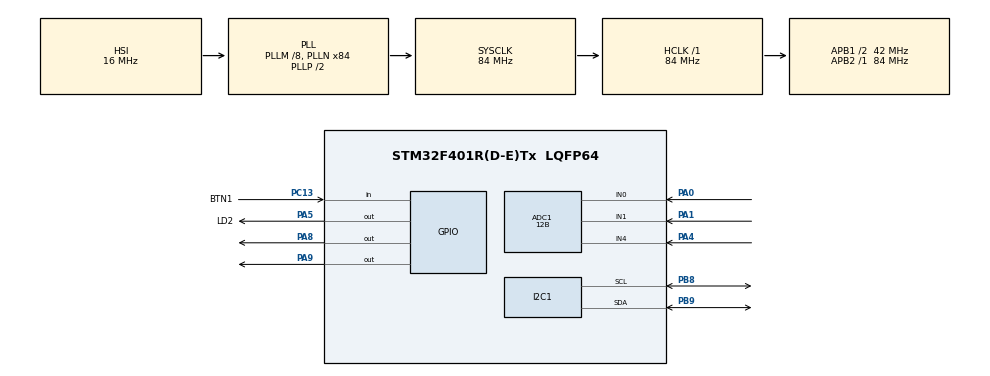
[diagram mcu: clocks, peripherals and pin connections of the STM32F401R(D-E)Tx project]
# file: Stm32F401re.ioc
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ADC1.Channel-1\#ChannelRegularConversion=ADC_CHANNEL_0
ADC1.Channel-2\#ChannelRegularConversion=ADC_CHANNEL_1
ADC1.Channel-3\#ChannelRegularConversion=ADC_CHANNEL_4
ADC1.ContinuousConvMode=DISABLE
ADC1.NbrOfConversion=3
ADC1.NbrOfConversionFlag=1
ADC1.Rank-1\#ChannelRegularConversion=1
ADC1.Rank-2\#ChannelRegularConversion=2
ADC1.Rank-3\#ChannelRegularConversion=3
ADC1.Resolution=ADC_RESOLUTION_12B
ADC1.SamplingTime-1\#ChannelRegularConversion=ADC_SAMPLETIME_28CYCLES
ADC1.SamplingTime-2\#ChannelRegularConversion=ADC_SAMPLETIME_56CYCLES
ADC1.SamplingTime-3\#ChannelRegularConversion=ADC_SAMPLETIME_84CYCLES
ADC1.ScanConvMode=ENABLE
ADC1.master=1
FREERTOS.Tasks01=Task01,24,256,StartTask01,Default,NULL,Dynamic,NULL,NULL;Task02,25,256,StartTask02,Default,NULL,Dynamic,NULL,NULL;Task03,26,256,StartTask03,Default,NULL,Dynamic,NULL,NULL;Task04,41,750,StartTask04,Default,NULL,Dynamic,NULL,NULL
I2C1.I2C_Mode=I2C_Standard
Mcu.Family=STM32F4
Mcu.Name=STM32F401R(D-E)Tx
Mcu.Package=LQFP64
NVIC.PriorityGroup=NVIC_PRIORITYGROUP_4
NVIC.TIM4_IRQn=true\:0\:0\:false\:false\:true\:false\:false\:true
NVIC.TimeBase=TIM4_IRQn
NVIC.TimeBaseIP=TIM4
PA0-WKUP.Signal=ADCx_IN0
PA1.Signal=ADCx_IN1
PA13.Mode=Serial_Wire
PA13.Signal=SYS_JTMS-SWDIO
PA14.Mode=Serial_Wire
PA14.Signal=SYS_JTCK-SWCLK
PA4.Signal=ADCx_IN4
PA5.GPIO_Label=LD2
PA5.Signal=GPIO_Output
PA8.Signal=GPIO_Output
PA9.Signal=GPIO_Output
PB8.Mode=I2C
PB8.Signal=I2C1_SCL
PB9.Mode=I2C
PB9.Signal=I2C1_SDA
PC13-ANTI_TAMP.GPIO_Label=BTN1
PC13-ANTI_TAMP.Signal=GPIO_Input
PH0\ -\ OSC_IN.Mode=HSE-External-Oscillator
PH0\ -\ OSC_IN.Signal=RCC_OSC_IN
PH1\ -\ OSC_OUT.Mode=HSE-External-Oscillator
PH1\ -\ OSC_OUT.Signal=RCC_OSC_OUT
ProjectManager.HeapSize=0x200
ProjectManager.StackSize=0x400
ProjectManager.TargetToolchain=MDK-ARM V5.27
RCC.48MHZClocksFreq_Value=42000000
RCC.AHBFreq_Value=84000000
RCC.APB1CLKDivider=RCC_HCLK_DIV2
RCC.APB1Freq_Value=42000000
RCC.APB1TimFreq_Value=84000000
RCC.APB2Freq_Value=84000000
RCC.APB2TimFreq_Value=84000000
RCC.CortexFreq_Value=84000000
RCC.HCLKFreq_Value=84000000
RCC.HSE_VALUE=25000000
RCC.HSI_VALUE=16000000
RCC.LSE_VALUE=32768
RCC.PLLM=8
RCC.PLLN=84
RCC.SYSCLKFreq_VALUE=84000000
RCC.SYSCLKSource=RCC_SYSCLKSOURCE_PLLCLK
RCC.VCOOutputFreq_Value=168000000
SH.ADCx_IN0.0=ADC1_IN0,IN0
SH.ADCx_IN1.0=ADC1_IN1,IN1
SH.ADCx_IN4.0=ADC1_IN4,IN4
VP_FREERTOS_VS_CMSIS_V2.Mode=CMSIS_V2
VP_SYS_VS_tim4.Mode=TIM4
board=custom

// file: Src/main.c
/* USER CODE BEGIN Header */
/**
  ******************************************************************************
  * @file           : main.c
  * @brief          : Main program body
  ******************************************************************************
  * @attention
  *
  * <h2><center>&copy; Copyright (c) 2021 STMicroelectronics.
  * All rights reserved.</center></h2>
  *
  * This software component is licensed by ST under BSD 3-Clause license,
  * the "License"; You may not use this file except in compliance with the
  * License. You may obtain a copy of the License at:
  *                        opensource.org/licenses/BSD-3-Clause
  *
  ******************************************************************************
  */
/* USER CODE END Header */

#include "main.h"
#include "cmsis_os.h"

/* USER CODE BEGIN Includes */
#include "GlobalVariable.h"

/* USER CODE END Includes */

/* USER CODE BEGIN PD */

/*
A8 - Step
A9 - Dir
A0 - Lm35
A1 - Ldr
*/

/* USER CODE END PD */

ADC_HandleTypeDef hadc1;

I2C_HandleTypeDef hi2c1;

osThreadId_t Task01Handle;
osThreadId_t Task02Handle;
osThreadId_t Task03Handle;
osThreadId_t Task04Handle;
/* USER CODE BEGIN PV */
uint16_t raw;
float voltage,temp;
int changing,state = 0;

RawData_Def myAccelRaw, myGyroRaw;
ScaledData_Def myAccelScaled, myGyroScaled;

char buffer[80];
int ADC_VAL[3];

int sudut;
float yaw,pitch,roll;

long lastT;
unsigned char menu;
//=========== Cara Config ADC =============//
// 1. Comment config dibawah error handler
// 2. Ubah menjadi ->hadc1.Init.NbrOfConversion = 1;
// 3. Sesuaikan channel yang digunakan pada fungsi pemilihan channel ADC

/* USER CODE END PV */

void SystemClock_Config(void);
static void MX_GPIO_Init(void);
static void MX_I2C1_Init(void);
static void MX_ADC1_Init(void);
void StartTask01(void *argument);
void StartTask02(void *argument);
void StartTask03(void *argument);
void StartTask04(void *argument);

/* USER CODE BEGIN PFP */
void ADC_Select_CH0 (void)
{
	ADC_ChannelConfTypeDef sConfig = {0};
	  /** Configure for the selected ADC regular channel its corresponding rank in the sequencer and its sample time.
	  */
	  sConfig.Channel = ADC_CHANNEL_0;
	  sConfig.Rank = 1;
	  sConfig.SamplingTime = ADC_SAMPLETIME_112CYCLES;
	  if (HAL_ADC_ConfigChannel(&hadc1, &sConfig) != HAL_OK)
	  {
	    Error_Handler();
	  }
}

void ADC_Select_CH1 (void)
{
	ADC_ChannelConfTypeDef sConfig = {0};
	  /** Configure for the selected ADC regular channel its corresponding rank in the sequencer and its sample time.
	  */
	  sConfig.Channel = ADC_CHANNEL_1;
	  sConfig.Rank = 1;
	  sConfig.SamplingTime = ADC_SAMPLETIME_112CYCLES;
	  if (HAL_ADC_ConfigChannel(&hadc1, &sConfig) != HAL_OK)
	  {
	    Error_Handler();
	  }
}

void ADC_Select_CH4 (void)
{
	ADC_ChannelConfTypeDef sConfig = {0};
	  /** Configure for the selected ADC regular channel its corresponding rank in the sequencer and its sample time.
	  */
	  sConfig.Channel = ADC_CHANNEL_4;
	  sConfig.Rank = 1;
	  sConfig.SamplingTime = ADC_SAMPLETIME_112CYCLES;
	  if (HAL_ADC_ConfigChannel(&hadc1, &sConfig) != HAL_OK)
	  {
	    Error_Handler();
	  }
}

long map(long x, long in_min, long in_max, long out_min, long out_max) {
  return (x - in_min) * (out_max - out_min) / (in_max - in_min) + out_min;
}

/* USER CODE END PFP */

int main(void)
{
  /* USER CODE BEGIN 1 */
	MPU_ConfigTypeDef myMpuConfig;
  /* USER CODE END 1 */

  /* MCU Configuration--------------------------------------------------------*/

  /* Reset of all peripherals, Initializes the Flash interface and the Systick. */
  HAL_Init();

  /* Configure the system clock */
  SystemClock_Config();

  /* Initialize all configured peripherals */
  MX_GPIO_Init();
  MX_I2C1_Init();
  MX_ADC1_Init();
  /* USER CODE BEGIN 2 */

	HAL_GPIO_WritePin(GPIOA,GPIO_PIN_5,GPIO_PIN_SET);

	//1. Initialise the MPU6050 module and I2C
	MPU6050_Init(&hi2c1);
	//2. Configure Accel and Gyro parameters
	myMpuConfig.Accel_Full_Scale = AFS_SEL_4g;
	myMpuConfig.ClockSource = Internal_8MHz;
	myMpuConfig.CONFIG_DLPF = DLPF_184A_188G_Hz;
	myMpuConfig.Gyro_Full_Scale = FS_SEL_500;
	myMpuConfig.Sleep_Mode_Bit = 0;  //1: sleep mode, 0: normal mode
	MPU6050_Config(&myMpuConfig);

	HAL_GPIO_WritePin(GPIOA,GPIO_PIN_5,GPIO_PIN_RESET);

	lcd_init();
	HAL_Delay(50);
	lcd_clear();
	HAL_Delay(50);

  /* USER CODE END 2 */

  osKernelInitialize();

  /* Create the thread(s) */
  /* definition and creation of Task01 */
  const osThreadAttr_t Task01_attributes = {
    .name = "Task01",
    .priority = (osPriority_t) osPriorityNormal,
    .stack_size = 256
  };
  Task01Handle = osThreadNew(StartTask01, NULL, &Task01_attributes);

  /* definition and creation of Task02 */
  const osThreadAttr_t Task02_attributes = {
    .name = "Task02",
    .priority = (osPriority_t) osPriorityNormal1,
    .stack_size = 256
  };
  Task02Handle = osThreadNew(StartTask02, NULL, &Task02_attributes);

  /* definition and creation of Task03 */
  const osThreadAttr_t Task03_attributes = {
    .name = "Task03",
    .priority = (osPriority_t) osPriorityNormal2,
    .stack_size = 256
  };
  Task03Handle = osThreadNew(StartTask03, NULL, &Task03_attributes);

  /* definition and creation of Task04 */
  const osThreadAttr_t Task04_attributes = {
    .name = "Task04",
    .priority = (osPriority_t) osPriorityHigh1,
    .stack_size = 750
  };
  Task04Handle = osThreadNew(StartTask04, NULL, &Task04_attributes);

  /* Start scheduler */
  osKernelStart();

  /* We should never get here as control is now taken by the scheduler */

  /* Infinite loop */
  while (1)
  {

  }
}

void SystemClock_Config(void)
{
  RCC_OscInitTypeDef RCC_OscInitStruct = {0};
  RCC_ClkInitTypeDef RCC_ClkInitStruct = {0};

  /** Configure the main internal regulator output voltage
  */
  __HAL_RCC_PWR_CLK_ENABLE();
  __HAL_PWR_VOLTAGESCALING_CONFIG(PWR_REGULATOR_VOLTAGE_SCALE2);
  /** Initializes the CPU, AHB and APB busses clocks
  */
  RCC_OscInitStruct.OscillatorType = RCC_OSCILLATORTYPE_HSI;
  RCC_OscInitStruct.HSIState = RCC_HSI_ON;
  RCC_OscInitStruct.HSICalibrationValue = RCC_HSICALIBRATION_DEFAULT;
  RCC_OscInitStruct.PLL.PLLState = RCC_PLL_ON;
  RCC_OscInitStruct.PLL.PLLSource = RCC_PLLSOURCE_HSI;
  RCC_OscInitStruct.PLL.PLLM = 8;
  RCC_OscInitStruct.PLL.PLLN = 84;
  RCC_OscInitStruct.PLL.PLLP = RCC_PLLP_DIV2;
  RCC_OscInitStruct.PLL.PLLQ = 4;
  if (HAL_RCC_OscConfig(&RCC_OscInitStruct) != HAL_OK)
  {
    Error_Handler();
  }
  /** Initializes the CPU, AHB and APB busses clocks
  */
  RCC_ClkInitStruct.ClockType = RCC_CLOCKTYPE_HCLK|RCC_CLOCKTYPE_SYSCLK
                              |RCC_CLOCKTYPE_PCLK1|RCC_CLOCKTYPE_PCLK2;
  RCC_ClkInitStruct.SYSCLKSource = RCC_SYSCLKSOURCE_PLLCLK;
  RCC_ClkInitStruct.AHBCLKDivider = RCC_SYSCLK_DIV1;
  RCC_ClkInitStruct.APB1CLKDivider = RCC_HCLK_DIV2;
  RCC_ClkInitStruct.APB2CLKDivider = RCC_HCLK_DIV1;

  if (HAL_RCC_ClockConfig(&RCC_ClkInitStruct, FLASH_LATENCY_2) != HAL_OK)
  {
    Error_Handler();
  }
}

static void MX_ADC1_Init(void)
{

  ADC_ChannelConfTypeDef sConfig = {0};

  /** Configure the global features of the ADC (Clock, Resolution, Data Alignment and number of conversion)
  */
  hadc1.Instance = ADC1;
  hadc1.Init.ClockPrescaler = ADC_CLOCK_SYNC_PCLK_DIV4;
  hadc1.Init.Resolution = ADC_RESOLUTION_12B;
  hadc1.Init.ScanConvMode = ENABLE;
  hadc1.Init.ContinuousConvMode = DISABLE;
  hadc1.Init.DiscontinuousConvMode = DISABLE;
  hadc1.Init.ExternalTrigConvEdge = ADC_EXTERNALTRIGCONVEDGE_NONE;
  hadc1.Init.ExternalTrigConv = ADC_SOFTWARE_START;
  hadc1.Init.DataAlign = ADC_DATAALIGN_RIGHT;
  hadc1.Init.NbrOfConversion = 3;
  hadc1.Init.DMAContinuousRequests = DISABLE;
  hadc1.Init.EOCSelection = ADC_EOC_SINGLE_CONV;
  if (HAL_ADC_Init(&hadc1) != HAL_OK)
  {
    Error_Handler();
  }
  /** Configure for the selected ADC regular channel its corresponding rank in the sequencer and its sample time.
  */
  sConfig.Channel = ADC_CHANNEL_0;
  sConfig.Rank = 1;
  sConfig.SamplingTime = ADC_SAMPLETIME_28CYCLES;
  if (HAL_ADC_ConfigChannel(&hadc1, &sConfig) != HAL_OK)
  {
    Error_Handler();
  }
  /** Configure for the selected ADC regular channel its corresponding rank in the sequencer and its sample time.
  */
  sConfig.Channel = ADC_CHANNEL_1;
  sConfig.Rank = 2;
  sConfig.SamplingTime = ADC_SAMPLETIME_56CYCLES;
  if (HAL_ADC_ConfigChannel(&hadc1, &sConfig) != HAL_OK)
  {
    Error_Handler();
  }
  /** Configure for the selected ADC regular channel its corresponding rank in the sequencer and its sample time.
  */
  sConfig.Channel = ADC_CHANNEL_4;
  sConfig.Rank = 3;
  sConfig.SamplingTime = ADC_SAMPLETIME_84CYCLES;
  if (HAL_ADC_ConfigChannel(&hadc1, &sConfig) != HAL_OK)
  {
    Error_Handler();
  }

}

static void MX_I2C1_Init(void)
{

  hi2c1.Instance = I2C1;
  hi2c1.Init.ClockSpeed = 100000;
  hi2c1.Init.DutyCycle = I2C_DUTYCYCLE_2;
  hi2c1.Init.OwnAddress1 = 0;
  hi2c1.Init.AddressingMode = I2C_ADDRESSINGMODE_7BIT;
  hi2c1.Init.DualAddressMode = I2C_DUALADDRESS_DISABLE;
  hi2c1.Init.OwnAddress2 = 0;
  hi2c1.Init.GeneralCallMode = I2C_GENERALCALL_DISABLE;
  hi2c1.Init.NoStretchMode = I2C_NOSTRETCH_DISABLE;
  if (HAL_I2C_Init(&hi2c1) != HAL_OK)
  {
    Error_Handler();
  }

}

static void MX_GPIO_Init(void)
{
  GPIO_InitTypeDef GPIO_InitStruct = {0};

  /* GPIO Ports Clock Enable */
  __HAL_RCC_GPIOC_CLK_ENABLE();
  __HAL_RCC_GPIOH_CLK_ENABLE();
  __HAL_RCC_GPIOA_CLK_ENABLE();
  __HAL_RCC_GPIOB_CLK_ENABLE();

  /*Configure GPIO pin Output Level */
  HAL_GPIO_WritePin(GPIOA, LD2_Pin|GPIO_PIN_8|GPIO_PIN_9, GPIO_PIN_RESET);

  /*Configure GPIO pin : BTN1_Pin */
  GPIO_InitStruct.Pin = BTN1_Pin;
  GPIO_InitStruct.Mode = GPIO_MODE_INPUT;
  GPIO_InitStruct.Pull = GPIO_NOPULL;
  HAL_GPIO_Init(BTN1_GPIO_Port, &GPIO_InitStruct);

  /*Configure GPIO pins : LD2_Pin PA8 PA9 */
  GPIO_InitStruct.Pin = LD2_Pin|GPIO_PIN_8|GPIO_PIN_9;
  GPIO_InitStruct.Mode = GPIO_MODE_OUTPUT_PP;
  GPIO_InitStruct.Pull = GPIO_NOPULL;
  GPIO_InitStruct.Speed = GPIO_SPEED_FREQ_LOW;
  HAL_GPIO_Init(GPIOA, &GPIO_InitStruct);

}

void StartTask01(void *argument)
{
  /* USER CODE BEGIN 5 */
  /* Infinite loop */
  for(;;)
  {
	pitch = 180 * atan2(myAccelScaled.x, sqrt(myAccelScaled.y*myAccelScaled.y + myAccelScaled.z*myAccelScaled.z))/3.14;
	roll = 180 * atan2(myAccelScaled.y, sqrt(myAccelScaled.x*myAccelScaled.x + myAccelScaled.z*myAccelScaled.z))/3.14;
	yaw = atan2(myAccelScaled.x,myAccelScaled.y)  * 57.2958;
	osDelay(10);
	}
  /* USER CODE END 5 */
}

void StartTask02(void *argument)
{
  /* USER CODE BEGIN StartTask02 */
  /* Infinite loop */
  for(;;)
  {
		int convADC = ADC_VAL[2];
		short ADC_HighTH = 4095,ADC_LowTH = 200;
		short Speed_High = 10,Speed_Low = 1;

		convADC = convADC > ADC_HighTH ? ADC_HighTH : convADC;
		convADC = convADC < ADC_LowTH ? ADC_LowTH : convADC;

		int speed = map(convADC,ADC_LowTH,ADC_HighTH,Speed_Low,Speed_High);
		//HAL_GPIO_WritePin(GPIOA,GPIO_PIN_9,GPIO_PIN_RESET);

		HAL_GPIO_WritePin(GPIOA,GPIO_PIN_8,GPIO_PIN_SET);
		osDelay(speed);
		HAL_GPIO_WritePin(GPIOA,GPIO_PIN_8,GPIO_PIN_RESET);
		osDelay(speed);

  }
  /* USER CODE END StartTask02 */
}

void StartTask03(void *argument)
{
  /* USER CODE BEGIN StartTask03 */
  /* Infinite loop */
  for(;;)
  {
		int convADC = ADC_VAL[1];
		short ADC_HighTH = 4095,ADC_LowTH = 200;
		short Deg_High = 360,Deg_Low = 0;

		convADC = convADC > ADC_HighTH ? ADC_HighTH : convADC;
		convADC = convADC < ADC_LowTH ? ADC_LowTH : convADC;

		sudut = map(convADC,ADC_LowTH,ADC_HighTH,Deg_Low,Deg_High);
    osDelay(10);
  }
  /* USER CODE END StartTask03 */
}

void StartTask04(void *argument)
{
  /* USER CODE BEGIN StartTask04 */
  /* Infinite loop */
  for(;;)
  {
		MPU6050_Get_Accel_Scale(&myAccelScaled);
		MPU6050_Get_Gyro_Scale(&myGyroScaled);

		HAL_GPIO_TogglePin(GPIOA,GPIO_PIN_5); //Cek Looping RTOS

		ADC_MultiplexData(); //Pengambilan Data ADC

		voltage = ADC_VAL[0] * (3300.0/4096.0);
    temp = voltage / 10.0;

		if (menu == false){
			lcd_setCursor(0,0);
			sprintf(buffer,"                  ");lcd_puts(buffer);
			lcd_setCursor(0,0);
			sprintf(buffer,"ADC 1 = ");	lcd_puts(buffer);
			sprintf(buffer,"%d",ADC_VAL[0]);	lcd_puts(buffer);

			lcd_setCursor(1,0);
			sprintf(buffer,"                  ");lcd_puts(buffer);
			lcd_setCursor(1,0);
			sprintf(buffer,"ADC 2 = ");	lcd_puts(buffer);
			sprintf(buffer,"%d",ADC_VAL[1]);	lcd_puts(buffer);
			osDelay(20);
			lcd_setCursor(2,0);
			sprintf(buffer,"                  ");lcd_puts(buffer);
			lcd_setCursor(2,0);
			sprintf(buffer,"ADC 3 = ");	lcd_puts(buffer);
			sprintf(buffer,"%d",ADC_VAL[2]);	lcd_puts(buffer);
			osDelay(20);
			lcd_setCursor(3,0);
			sprintf(buffer,"                  ");lcd_puts(buffer);
			lcd_setCursor(3,0);
			sprintf(buffer,"Accel = ");	lcd_puts(buffer);
			sprintf(buffer,"%.3f",myAccelScaled.x);	lcd_puts(buffer);
			osDelay(20);
		}
		else if (menu == true){
			lcd_setCursor(0,0);
			sprintf(buffer,"                  ");lcd_puts(buffer);
			lcd_setCursor(0,0);
			sprintf(buffer,"LDR = ");	lcd_puts(buffer);
			if (ADC_VAL[2] > 2000) {
				sprintf(buffer,"Gelap");
			}
			else sprintf(buffer,"Terang");
			//sprintf(buffer,"%d",ADC_VAL[0] > 2000 ? 1 : 0);
			lcd_puts(buffer);

			lcd_setCursor(1,0);
			sprintf(buffer,"                  ");lcd_puts(buffer);
			lcd_setCursor(1,0);
			sprintf(buffer,"Sudut = ");	lcd_puts(buffer);
			sprintf(buffer,"%d",sudut);	lcd_puts(buffer);

			lcd_setCursor(2,0);
			sprintf(buffer,"                  ");lcd_puts(buffer);
			lcd_setCursor(2,0);
			sprintf(buffer,"Suhu = ");	lcd_puts(buffer);
			sprintf(buffer,"%d",(int)temp);	lcd_puts(buffer);

			lcd_setCursor(3,0);
			sprintf(buffer,"                  ");lcd_puts(buffer);
			lcd_setCursor(3,0);
			sprintf(buffer,"Roll = ");	lcd_puts(buffer);
			sprintf(buffer,"%.2f",roll);	lcd_puts(buffer);
			osDelay(45);
		}

		if (HAL_GetTick() - lastT >= 2000){
				menu ^= true;
				//menu = true;
				lastT = HAL_GetTick();
		}

		//		lcd_setCursor(3,0);
//		sprintf(buffer,"                  ");lcd_puts(buffer);
//		lcd_setCursor(3,0);
//		sprintf(buffer,"TEMP = ");	lcd_puts(buffer);
//		sprintf(buffer,"%.2f",temp);	lcd_puts(buffer);

  }
  /* USER CODE END StartTask04 */
}

void HAL_TIM_PeriodElapsedCallback(TIM_HandleTypeDef *htim)
{
  if (htim->Instance == TIM4) {
    HAL_IncTick();
  }
}

void Error_Handler(void)
{
}

/************************ (C) COPYRIGHT STMicroelectronics *****END OF FILE****/
